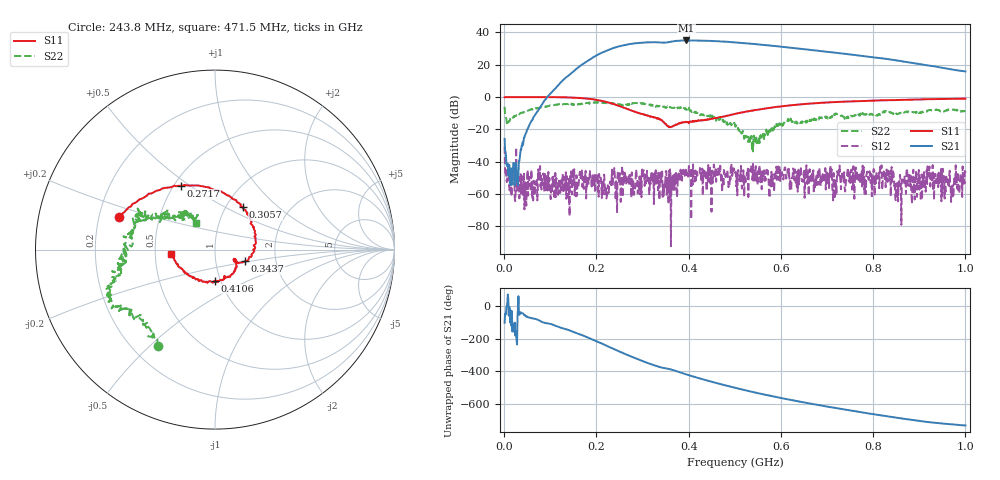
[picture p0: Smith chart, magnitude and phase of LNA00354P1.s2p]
! Created with skrf 1.9.0 (http://scikit-rf.org).
# Hz S RI R 50.0
!freq ReS11 ImS11 ReS21 ImS21 ReS12 ImS12 ReS22 ImS22
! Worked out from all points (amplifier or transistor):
!   1001 points, 1 MHz to 1 GHz, reference 50 ohm
!   highest |S21| = 35.0 dB at 394.6 MHz (marker M1)
!   |S21| within 3 dB of that: 259.3 MHz to 571.7 MHz (312.4 MHz wide, 75.2 % of centre)
!   unconditionally stable (mu >= 1): start of sweep to 73.89 MHz; 255.8 MHz to 298.6 MHz; 298.8 MHz to end of sweep (the widest 3 of 39)
!   at 166.8 MHz: K = 0.86, MSG = 32.5 dB, |S12| = -45.4 dB
!   at 500.5 MHz: K = 2.15, MAG = 34.5 dB, |S12| = -47.3 dB
!   at 1 GHz: K = 2.91, MAG = 23.9 dB, |S12| = -46.9 dB
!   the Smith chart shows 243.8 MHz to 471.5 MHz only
!   S11 on the Smith chart (normalised r, x): 243.8 MHz: 0.28, +0.15; 271.7 MHz: 0.54, +0.46; 305.7 MHz: 1.20, +0.62; 343.7 MHz: 1.39, -0.19; 410.6 MHz: 0.94, -0.34; 471.5 MHz: 0.61, -0.03
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1000000  0.9843 -0.000283  -0.0109 -0.0498  -0.0279 -0.0095  0.3708 0.3346
1.08892e8  0.5096 -0.8549  -0.8093 -1.526  0.000288 -0.000657  0.43 -0.3751
1.67833e8  -0.2519 -0.8938  -9.9 -0.5407  -0.00286 -0.00283  0.042 -0.6336
2.09791e8  -0.6821 -0.3617  -15.45 16.82  0.00255 -0.00139  -0.1954 -0.6518
2.43757e8  -0.5355 0.1814  0.9083 35.27  0.00163 0.000357  -0.3191 -0.5378
2.71729e8  -0.192 0.3556  25.26 35.19  -0.00386 -0.000673  -0.4857 -0.33
3.05695e8  0.1576 0.2376  46.61 13.85  -0.000576 0.00396  -0.5822 -0.1896
3.34666e8  0.219 -0.00852  48.24 -10.18  -0.00399 0.00231  -0.5162 -0.0209
3.43657e8  0.167 -0.0647  45.89 -15.41  -4.17e-05 0.000742  -0.5047 0.00681
3.7063e8  0.1172 -0.0664  43.52 -32.27  0.00331 0.00251  -0.4593 0.1788
3.94606e8  0.0719 -0.1504  29.06 -48.4  0.00379 0.000943  -0.3905 0.1612
4.1059e8  0.000968 -0.1733  16.39 -53.93  0.00334 0.000668  -0.3199 0.176
4.39561e8  -0.1307 -0.1499  -6.159 -54.68  0.000707 -0.00128  -0.1701 0.2048
4.71529e8  -0.2436 -0.0253  -26.44 -45.24  0.00313 0.00207  -0.107 0.1508
5.005e8  -0.2748 0.1319  -38.82 -30.7  0.00236 0.00361  -0.0641 0.1205
5.4046e8  -0.196 0.3377  -43.02 -9.138  0.0024 0.00105  -0.039 0.00811
5.88412e8  0.0118 0.4928  -35.97 11.57  0.00383 -0.00139  -0.0919 -0.0764
6.67333e8  0.3932 0.4993  -13.95 24.57  0.00347 -0.00334  -0.1835 -0.0694
7.53247e8  0.6792 0.2836  4.222 20.08  -0.00338 -0.00466  -0.2584 -0.0347
8.34166e8  0.8014 0.0198  10.97 9.897  -0.00326 0.0021  -0.3529 -0.0227
9.13087e8  0.8187 -0.2615  9.654 1.718  -0.00113 0.000679  -0.348 0.1159
1e9  0.7294 -0.5235  6.083 -1.375  -0.00413 -0.00189  -0.3085 0.2191
